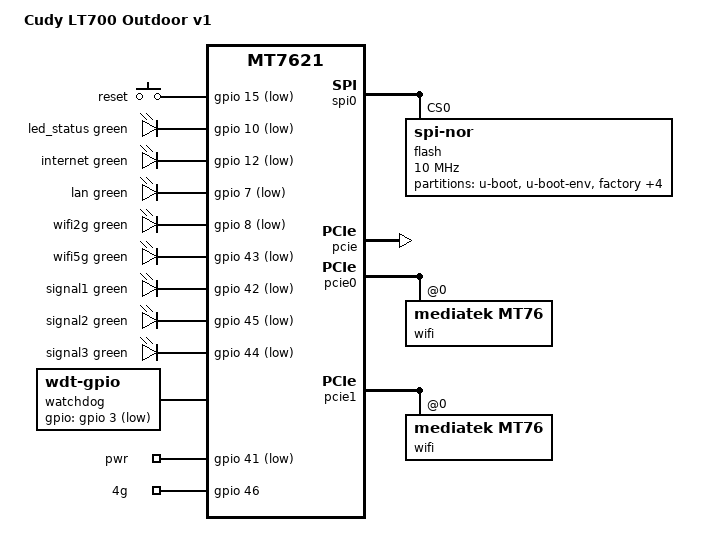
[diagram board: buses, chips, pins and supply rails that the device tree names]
// SPDX-License-Identifier: GPL-2.0-or-later OR MIT

#include "mt7621.dtsi"

#include <dt-bindings/input/input.h>
#include <dt-bindings/leds/common.h>
#include <dt-bindings/gpio/gpio.h>

/ {
	compatible = "cudy,lt700-outdoor-v1", "mediatek,mt7621-soc";
	model = "Cudy LT700 Outdoor v1";

	aliases {
		led-boot = &led_status;
		led-failsafe = &led_status;
		led-running = &led_status;
		led-upgrade = &led_status;
		label-mac-device = &gmac0;
	};

	chosen {
		bootargs = "console=ttyS0,115200";
	};

	keys {
		compatible = "gpio-keys";

		reset {
			label = "reset";
			gpios = <&gpio 15 GPIO_ACTIVE_LOW>;
			linux,code = <KEY_RESTART>;
		};
	};

	leds {
		compatible = "gpio-leds";

		led_status: status {
			gpios = <&gpio 10 GPIO_ACTIVE_LOW>;
			color = <LED_COLOR_ID_GREEN>;
			function = LED_FUNCTION_STATUS;
		};

		internet {
			gpios = <&gpio 12 GPIO_ACTIVE_LOW>;
			color = <LED_COLOR_ID_GREEN>;
			function = LED_FUNCTION_WAN_ONLINE;
		};

		lan {
			gpios = <&gpio 7 GPIO_ACTIVE_LOW>;
			color = <LED_COLOR_ID_GREEN>;
			function = LED_FUNCTION_LAN;
		};

		wifi2g {
			gpios = <&gpio 8 GPIO_ACTIVE_LOW>;
			color = <LED_COLOR_ID_GREEN>;
			function = LED_FUNCTION_WLAN_2GHZ;
			linux,default-trigger = "phy0tpt";
		};

		wifi5g {
			gpios = <&gpio 43 GPIO_ACTIVE_LOW>;
			color = <LED_COLOR_ID_GREEN>;
			function = LED_FUNCTION_WLAN_5GHZ;
			linux,default-trigger = "phy1tpt";
		};

		signal1 {
			gpios = <&gpio 42 GPIO_ACTIVE_LOW>;
			color = <LED_COLOR_ID_GREEN>;
			function = LED_FUNCTION_MOBILE;
			function-enumerator = <1>;
		};

		signal2 {
			gpios = <&gpio 45 GPIO_ACTIVE_LOW>;
			color = <LED_COLOR_ID_GREEN>;
			function = LED_FUNCTION_MOBILE;
			function-enumerator = <2>;
		};

		signal3 {
			gpios = <&gpio 44 GPIO_ACTIVE_LOW>;
			color = <LED_COLOR_ID_GREEN>;
			function = LED_FUNCTION_MOBILE;
			function-enumerator = <3>;
		};
	};

	/* External watchdog, must be toggled or the board resets after ~30s */
	watchdog {
		compatible = "linux,wdt-gpio";
		gpios = <&gpio 3 GPIO_ACTIVE_LOW>;
		hw_algo = "toggle";
		hw_margin_ms = <10000>;
		always-running;
	};

	gpio-export {
		compatible = "gpio-export";

		/* Modem power enable (active low); asserted at boot to power the modem */
		pwr {
			gpio-export,name = "pwr";
			gpio-export,output = <1>;
			gpios = <&gpio 41 GPIO_ACTIVE_LOW>;
		};

		/* Modem reset (active high); kept deasserted for normal operation */
		usb4g {
			gpio-export,name = "4g";
			gpio-export,output = <0>;
			gpios = <&gpio 46 GPIO_ACTIVE_HIGH>;
		};
	};
};

&spi0 {
	status = "okay";

	flash@0 {
		compatible = "jedec,spi-nor";
		reg = <0>;
		spi-max-frequency = <10000000>;

		partitions {
			compatible = "fixed-partitions";
			#address-cells = <1>;
			#size-cells = <1>;

			partition@0 {
				label = "u-boot";
				reg = <0x0 0x30000>;
				read-only;
			};

			partition@30000 {
				label = "u-boot-env";
				reg = <0x30000 0x10000>;
				read-only;
			};

			partition@40000 {
				label = "factory";
				reg = <0x40000 0x10000>;
				read-only;

				nvmem-layout {
					compatible = "fixed-layout";
					#address-cells = <1>;
					#size-cells = <1>;

					eeprom_factory_0: eeprom@0 {
						reg = <0x0 0x400>;
					};

					eeprom_factory_8000: eeprom@8000 {
						reg = <0x8000 0x4da8>;
					};
				};
			};

			partition@50000 {
				compatible = "denx,uimage";
				label = "firmware";
				reg = <0x50000 0xf80000>;
			};

			partition@fd0000 {
				label = "debug";
				reg = <0xfd0000 0x10000>;
				read-only;
			};

			partition@fe0000 {
				label = "backup";
				reg = <0xfe0000 0x10000>;
				read-only;
			};

			partition@ff0000 {
				label = "bdinfo";
				reg = <0xff0000 0x10000>;
				read-only;

				nvmem-layout {
					compatible = "fixed-layout";
					#address-cells = <1>;
					#size-cells = <1>;

					macaddr_bdinfo_de00: macaddr@de00 {
						compatible = "mac-base";
						reg = <0xde00 0x6>;
						#nvmem-cell-cells = <1>;
					};
				};
			};
		};
	};
};

&pcie {
	status = "okay";
};

&pcie0 {
	wifi@0,0 {
		compatible = "mediatek,mt76";
		reg = <0x0000 0 0 0 0>;
		nvmem-cells = <&eeprom_factory_0>, <&macaddr_bdinfo_de00 0>;
		nvmem-cell-names = "eeprom", "mac-address";
		ieee80211-freq-limit = <2400000 2500000>;
	};
};

&pcie1 {
	wifi@0,0 {
		compatible = "mediatek,mt76";
		reg = <0x0000 0 0 0 0>;
		nvmem-cells = <&eeprom_factory_8000>, <&macaddr_bdinfo_de00 1>;
		nvmem-cell-names = "eeprom", "mac-address";
		ieee80211-freq-limit = <5000000 6000000>;
	};
};

&gmac0 {
	nvmem-cells = <&macaddr_bdinfo_de00 0>;
	nvmem-cell-names = "mac-address";
};

&switch0 {
	ports {
		port@2 {
			status = "okay";
			label = "lan";
		};
	};
};

&state_default {
	gpio {
		groups = "i2c", "uart2", "uart3", "jtag", "sdhci";
		function = "gpio";
	};
};
